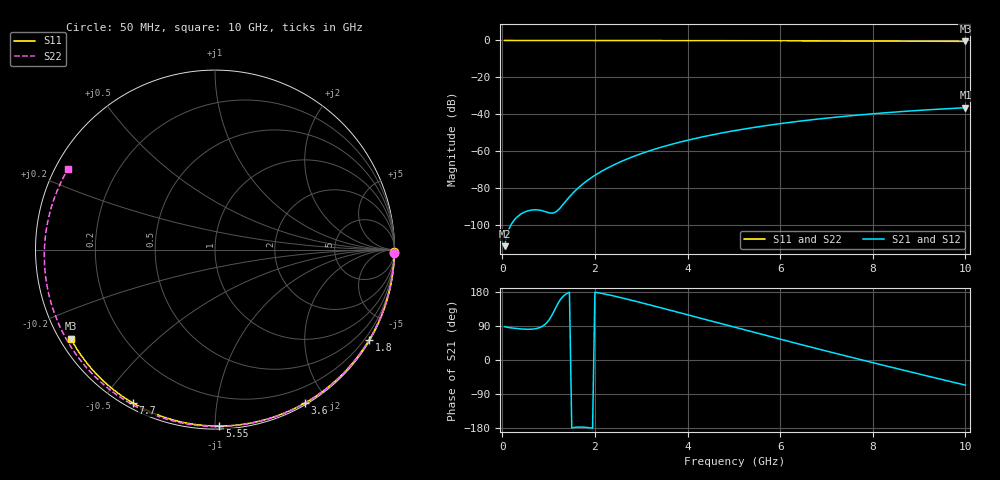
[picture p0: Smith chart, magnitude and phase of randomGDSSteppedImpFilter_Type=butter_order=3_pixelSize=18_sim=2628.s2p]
! freq	dB(S11)	phase(S11)	dB(S12)	phase(S12)
!  dB(S21)	phase(S21)	dB(S22)	phase(S22)
!S-par simulation data
#  GHz  S  DB  R 50
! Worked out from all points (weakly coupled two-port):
!   200 points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, 50 MHz to 10 GHz, reference 50 ohm
!   highest |S21| = -36.48 dB at 10 GHz (marker M1); lowest = -111.5 dB at 50 MHz (marker M2)
!   lowest |S11| = -0.5 dB at 10 GHz (marker M3), VSWR 34.80, Z = 1.55 - j14.2 ohm
!   |S11| at or under -10 dB: nowhere
!   |S22| runs from -0.6 to 0.0 dB; largest |S21 - S12| = 0
!   S11 on the Smith chart (normalised r, x): 50 MHz: open; 1.8 GHz: 0.03, -3.67; 3.6 GHz: 0.02, -1.75; 5.55 GHz: 0.02, -1.03; 7.7 GHz: 0.02, -0.60; 10 GHz: 0.03, -0.28
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0.05  -0.00 -0.8  -111.51 87.9  -111.51 87.9  -0.00 -1.2
0.45  -0.01 -7.7  -93.40 81.6  -93.40 81.6  -0.02 -11.0
0.8  -0.02 -13.7  -91.99 85.2  -91.99 85.2  -0.03 -19.5
1.6  -0.03 -27.2  -80.86 -177.3  -80.86 -177.3  -0.05 -38.5
1.65  -0.04 -28.0  -79.71 -177.0  -79.71 -177.0  -0.05 -39.7
1.75  -0.04 -29.7  -77.58 -177.3  -77.58 -177.3  -0.05 -42.0
1.8  -0.04 -30.5  -76.60 -177.7  -76.60 -177.7  -0.05 -43.2
2.1  -0.05 -35.5  -71.56 176.9  -71.56 176.9  -0.06 -50.1
2.5  -0.05 -42.0  -66.37 166.4  -66.37 166.4  -0.08 -59.2
2.9  -0.06 -48.5  -62.26 154.4  -62.26 154.4  -0.09 -68.0
3.4  -0.07 -56.4  -58.10 138.6  -58.10 138.6  -0.10 -78.8
3.6  -0.08 -59.5  -56.67 132.1  -56.67 132.1  -0.11 -83.1
4.3  -0.10 -70.2  -52.38 109.5  -52.38 109.5  -0.14 -97.5
5.05  -0.12 -81.3  -48.74 85.2  -48.74 85.2  -0.17 -112.5
5.55  -0.14 -88.5  -46.71 69.2  -46.71 69.2  -0.20 -122.1
6.15  -0.17 -97.0  -44.60 50.2  -44.60 50.2  -0.23 -133.6
6.7  -0.20 -104.6  -42.93 32.9  -42.93 32.9  -0.27 -143.9
7.2  -0.23 -111.4  -41.59 17.4  -41.59 17.4  -0.31 -153.3
7.7  -0.27 -118.0  -40.40 2.1  -40.40 2.1  -0.35 -162.8
8.35  -0.32 -126.6  -39.05 -17.6  -39.05 -17.6  -0.42 -175.2
9.2  -0.41 -137.7  -37.58 -42.9  -37.58 -42.9  -0.51 168.0
10  -0.50 -148.2  -36.48 -66.3  -36.48 -66.3  -0.60 151.3
